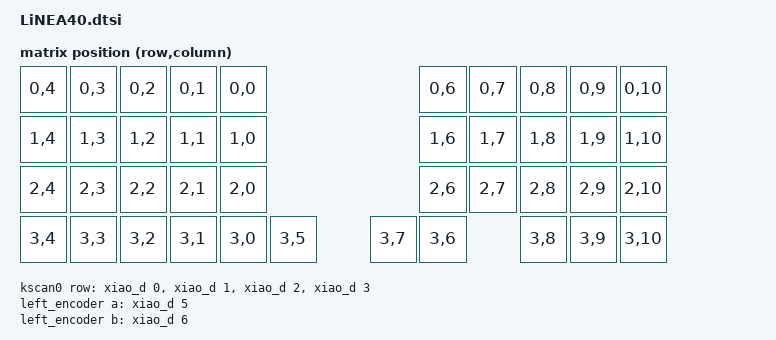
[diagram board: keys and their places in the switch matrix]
#include <dt-bindings/zmk/matrix_transform.h>
#include <physical_layouts.dtsi>

/ {
    chosen {
        zmk,physical-layout = &physical_layout0;
    };

    physical_layout0: physical_layout_0 {
        compatible = "zmk,physical-layout";
        display-name = "LiNEA40";
        kscan = <&kscan0>;
        transform = <&default_transform>;
        keys  //                     w   h    x    y     rot    rx    ry
            = <&key_physical_attrs 100 100    0    0       0     0     0>
            , <&key_physical_attrs 100 100  100    0       0     0     0>
            , <&key_physical_attrs 100 100  200    0       0     0     0>
            , <&key_physical_attrs 100 100  300    0       0     0     0>
            , <&key_physical_attrs 100 100  400    0       0     0     0>
            , <&key_physical_attrs 100 100  800    0       0     0     0>
            , <&key_physical_attrs 100 100  900    0       0     0     0>
            , <&key_physical_attrs 100 100 1000    0       0     0     0>
            , <&key_physical_attrs 100 100 1100    0       0     0     0>
            , <&key_physical_attrs 100 100 1200    0       0     0     0>
            , <&key_physical_attrs 100 100    0  100       0     0     0>
            , <&key_physical_attrs 100 100  100  100       0     0     0>
            , <&key_physical_attrs 100 100  200  100       0     0     0>
            , <&key_physical_attrs 100 100  300  100       0     0     0>
            , <&key_physical_attrs 100 100  400  100       0     0     0>
            , <&key_physical_attrs 100 100  800  100       0     0     0>
            , <&key_physical_attrs 100 100  900  100       0     0     0>
            , <&key_physical_attrs 100 100 1000  100       0     0     0>
            , <&key_physical_attrs 100 100 1100  100       0     0     0>
            , <&key_physical_attrs 100 100 1200  100       0     0     0>
            , <&key_physical_attrs 100 100    0  200       0     0     0>
            , <&key_physical_attrs 100 100  100  200       0     0     0>
            , <&key_physical_attrs 100 100  200  200       0     0     0>
            , <&key_physical_attrs 100 100  300  200       0     0     0>
            , <&key_physical_attrs 100 100  400  200       0     0     0>
            , <&key_physical_attrs 100 100  800  200       0     0     0>
            , <&key_physical_attrs 100 100  900  200       0     0     0>
            , <&key_physical_attrs 100 100 1000  200       0     0     0>
            , <&key_physical_attrs 100 100 1100  200       0     0     0>
            , <&key_physical_attrs 100 100 1200  200       0     0     0>
            , <&key_physical_attrs 100 100    0  300       0     0     0>
            , <&key_physical_attrs 100 100  100  300       0     0     0>
            , <&key_physical_attrs 100 100  200  300       0     0     0>
            , <&key_physical_attrs 100 100  300  300       0     0     0>
            , <&key_physical_attrs 100 100  400  300       0     0     0>
            , <&key_physical_attrs 100 100  500  300       0     0     0>
            , <&key_physical_attrs 100 100  700  300       0     0     0>
            , <&key_physical_attrs 100 100  800  300       0     0     0>
            , <&key_physical_attrs 100 100 1000  300       0     0     0>
            , <&key_physical_attrs 100 100 1100  300       0     0     0>
            , <&key_physical_attrs 100 100 1200  300       0     0     0>
            ;
    };

    default_transform: keymap_transform0 {
        compatible = "zmk,matrix-transform";
        columns = <11>;
        rows = <4>; 
        map = <
            RC(0,4) RC(0,3) RC(0,2) RC(0,1) RC(0,0)                 RC(0,6) RC(0,7) RC(0,8) RC(0,9) RC(0,10)
            RC(1,4) RC(1,3) RC(1,2) RC(1,1) RC(1,0)                 RC(1,6) RC(1,7) RC(1,8) RC(1,9) RC(1,10)
            RC(2,4) RC(2,3) RC(2,2) RC(2,1) RC(2,0)                 RC(2,6) RC(2,7) RC(2,8) RC(2,9) RC(2,10)
            RC(3,4) RC(3,3) RC(3,2) RC(3,1) RC(3,0) RC(3,5) RC(3,7) RC(3,6)         RC(3,8) RC(3,9) RC(3,10)
        >;
    };

    kscan0: kscan0 {
        compatible = "zmk,kscan-gpio-matrix";
        diode-direction = "col2row";

        row-gpios
            = <&xiao_d 0 (GPIO_ACTIVE_HIGH | GPIO_PULL_DOWN)>   //row0-D0
            , <&xiao_d 1 (GPIO_ACTIVE_HIGH | GPIO_PULL_DOWN)>   //row1-D1
            , <&xiao_d 2 (GPIO_ACTIVE_HIGH | GPIO_PULL_DOWN)>   //row2-D2
            , <&xiao_d 3 (GPIO_ACTIVE_HIGH | GPIO_PULL_DOWN)>   //row3-D3
            ;
    };

    left_encoder: encoder_left {
        compatible = "alps,ec11";
        a-gpios = <&xiao_d 5 (GPIO_ACTIVE_HIGH | GPIO_PULL_UP)>;
        b-gpios = <&xiao_d 6 (GPIO_ACTIVE_HIGH | GPIO_PULL_UP)>;
        steps = <24>;
        status = "disabled";
    };

    sensors: sensors {
        compatible = "zmk,keymap-sensors";
        sensors = <&left_encoder>;
        triggers-per-rotation = <8>;
    };

/ {
    // JISキーコードをZMKのキーコードエイリアスとして定義
    // <&kp XXX> は 'Press and Release' の意味
    // JIS配列のキーが、US配列の物理的なキーコードに対応するようにマッピング

    jp_keys {
        compatible = "zmk,key-code-aliases";

        JP_AT: at { bindings = <&kp LBRACKET>; };
        JP_COLON: colon { bindings = <&kp SQUOTE>; };
        JP_YEN: yen { bindings = <&kp NON_US_HASH>; };
        JP_HAT: hat { bindings = <&kp GRAVE>; };
        JP_EQUAL: equal { bindings = <&kp EQUAL>; };
        JP_MINUS: minus { bindings = <&kp MINUS>; };
        JP_LBRACKET: lbracket { bindings = <&kp RBRACKET>; };
        JP_SEMICOLON: semicolon { bindings = <&kp SEMICOLON>; };
        JP_RBRACKET: rbracket { bindings = <&kp BACKSLASH>; };
        JP_COMMA: comma { bindings = <&kp COMMA>; };
        JP_DOT: dot { bindings = <&kp DOT>; };
        JP_SLASH: slash { bindings = <&kp SLASH>; };
        JP_BS_SLASH: bs_slash { bindings = <&kp NON_US_BSLH>; };
        JP_NONUS_HASH: nonus_hash { bindings = <&kp NON_US_HASH>; };
    };
};

    trackball_listener: trackball_listener {
        compatible = "zmk,input-listener";
        status = "disabled";
    };
};
